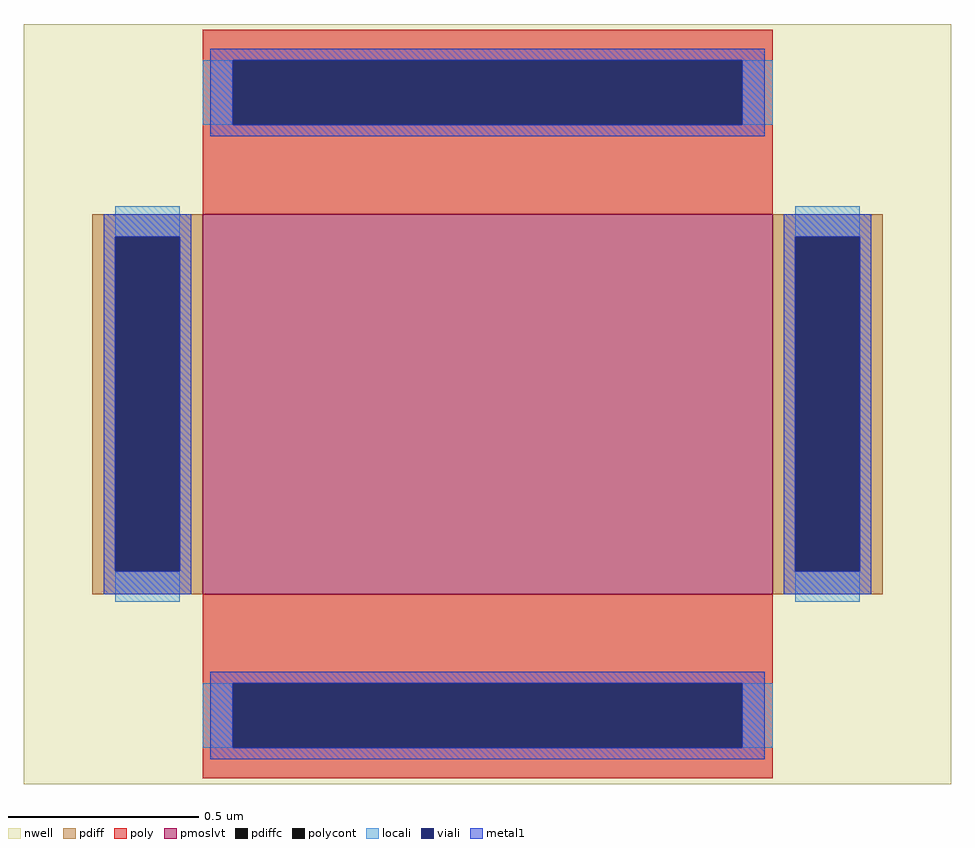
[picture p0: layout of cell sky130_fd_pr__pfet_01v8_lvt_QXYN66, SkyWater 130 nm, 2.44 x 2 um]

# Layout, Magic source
magic
tech sky130A
magscale 1 2
<< nwell >>
rect -244 -200 244 200
<< pmoslvt >>
rect -150 -100 150 100
<< pdiff >>
rect -208 88 -150 100
rect -208 -88 -196 88
rect -162 -88 -150 88
rect -208 -100 -150 -88
rect 150 88 208 100
rect 150 -88 162 88
rect 196 -88 208 88
rect 150 -100 208 -88
<< pdiffc >>
rect -196 -88 -162 88
rect 162 -88 196 88
<< poly >>
rect -150 181 150 197
rect -150 147 -134 181
rect 134 147 150 181
rect -150 100 150 147
rect -150 -147 150 -100
rect -150 -181 -134 -147
rect 134 -181 150 -147
rect -150 -197 150 -181
<< polycont >>
rect -134 147 134 181
rect -134 -181 134 -147
<< locali >>
rect -150 147 -134 181
rect 134 147 150 181
rect -196 88 -162 104
rect -196 -104 -162 -88
rect 162 88 196 104
rect 162 -104 196 -88
rect -150 -181 -134 -147
rect 134 -181 150 -147
<< viali >>
rect -134 147 134 181
rect -196 -88 -162 88
rect 162 -88 196 88
rect -134 -181 134 -147
<< metal1 >>
rect -146 181 146 187
rect -146 147 -134 181
rect 134 147 146 181
rect -146 141 146 147
rect -202 88 -156 100
rect -202 -88 -196 88
rect -162 -88 -156 88
rect -202 -100 -156 -88
rect 156 88 202 100
rect 156 -88 162 88
rect 196 -88 202 88
rect 156 -100 202 -88
rect -146 -147 146 -141
rect -146 -181 -134 -147
rect 134 -181 146 -147
rect -146 -187 146 -181
<< properties >>
string gencell sky130_fd_pr__pfet_01v8_lvt
string library sky130
string parameters w 1.0 l 1.5 m 1 nf 1 diffcov 100 polycov 100 guard 0 glc 1 grc 1 gtc 1 gbc 1 tbcov 100 rlcov 100 topc 1 botc 1 poverlap 0 doverlap 1 lmin 0.35 wmin 0.42 class mosfet compatible {sky130_fd_pr__pfet_01v8  sky130_fd_pr__pfet_01v8_lvt sky130_fd_pr__pfet_01v8_hvt  sky130_fd_pr__pfet_g5v0d10v5} full_metal 1 viasrc 100 viadrn 100 viagate 100 viagb 0 viagr 0 viagl 0 viagt 0
<< end >>
